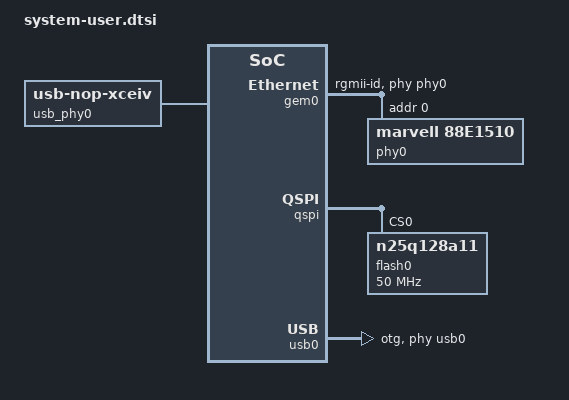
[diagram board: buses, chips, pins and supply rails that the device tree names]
/include/ "system-conf.dtsi"
/ {

   xlnk {
      compatible = "xlnx,xlnk-1.0";
   };

   chosen {
      xlnx,eeprom= &mac_eeprom;
   };

};

&gem0 {
    status = "okay";
    phy-handle = <&phy0>;
    phy-mode = "rgmii-id";
    phy0: phy@0 {
      compatible = "marvell,88E1510";
      device_type = "ethernet-phy";
      reg = <0x0>;
      /* linux,phandle = <0x5>; */
      /* phandle = <0x5>; */
      /* 
       * modify PHY registers to:
       * Reg 3_16
       * LED[1] bits [7:4] = ON=link, BLINK=activity, OFF=no activity
       * LED[0] bits [3:0] = link speed detect (3 blinks= 1Gbps, 2 blinks = 100Mbps, 1 blink = 10Mbps)
       * Reg 3_17
       * LED[1:0] = ON-drive low, OFF-high
       * Reg 3_18
       * LED[0] bits [3:2] = link speed LED blink off period = 170ms
       * LED[0] bits [1:0] = link speed LED blink on period = 340ms
       */
      marvell,reg-init = <3 16 0xff00 0x42>,
         <3 17 0xfff0 0x0>,
         <3 18 0xfff0 0x6>;
    };

};


/* QSPI partitions are defined with petalinux-config and described in system.conf.dtsi */
&qspi {
   #address-cells = <1>;
   #size-cells = <0>;
   status = "okay";
   is-dual = <0>;
   num-cs = <1>;
   flash0: flash@0 {
      compatible = "n25q128a11";
      reg = <0x0>;
      spi-tx-bus-width = <1>;
      spi-rx-bus-width = <4>;
      spi-max-frequency = <50000000>;      
      #address-cells = <1>;
      #size-cells = <1>;
   };
};

/ {
    usb_phy0:usb_phy@0 {
        compatible="usb-nop-xceiv";
        #phy-cells = <0>;
    };
};


&usb0 {
    dr_mode = "otg";
    usb-phy = <&usb0>;
};

